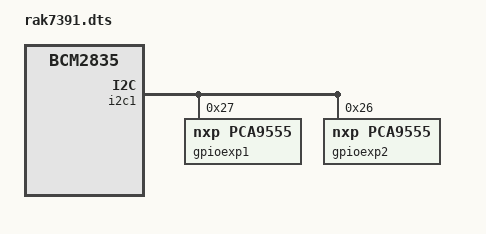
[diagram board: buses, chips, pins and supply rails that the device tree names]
/dts-v1/;
/plugin/;

/ {
	
    compatible = "brcm,bcm2835";

    /* PCA9555 GPIO expander, address 0x27 */
    fragment@0 {
        target = <&i2c1>;
        __overlay__ {
            #address-cells = <1>;
            #size-cells = <0>;
            status = "okay";

            gpioexp1: pca@27 {
                compatible = "nxp,pca9555";
                reg = <0x27>;
                gpio-controller;
                #gpio-cells = <2>;
                gpio-line-names = 
                    "IO0_0",
                    "IO0_1",
                    "IO0_2",
                    "IO0_3",
                    "IO0_4",
                    "IO0_5",
                    "IO0_6",
                    "IO0_7",
                    "IO1_0",
                    "IO1_1",
                    "IO1_2",
                    "IO1_3",
                    "IO1_4",
                    "IO1_5",
                    "IO1_6",
                    "IO1_7"
                    ;
                status = "okay";
            };
        };
    };

    /* PCA9555 GPIO expander, address 0x26 */
    fragment@1 {
        target = <&i2c1>;
        __overlay__ {
            #address-cells = <1>;
            #size-cells = <0>;
            status = "okay";

            gpioexp2: pca@26 {
                compatible = "nxp,pca9555";
                reg = <0x26>;
                gpio-controller;
                #gpio-cells = <2>;
                gpio-line-names = 
                    "IO2_0",
                    "IO2_1",
                    "IO2_2",
                    "IO2_3",
                    "IO2_4",
                    "IO2_5",
                    "IO2_6",
                    "IO2_7",
                    "IO3_0",
                    "IO3_1",
                    "IO3_2",
                    "IO3_3",
                    "IO3_4",
                    "IO3_5",
                    "IO3_6",
                    "IO3_7"
                    ;
                status = "okay";
            };
        };
    };

};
